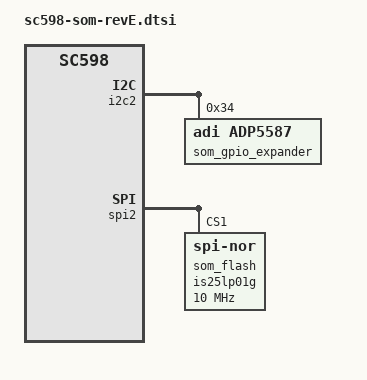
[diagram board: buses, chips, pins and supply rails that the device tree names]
// SPDX-License-Identifier: GPL-2.0-or-later
/*
 * (C) Copyright 2025 - Analog Devices, Inc.
 */

/dts-v1/;

#include "sc598-som.dtsi"

&i2c2 {
	som_gpio_expander: adp5587@34 {
		compatible = "adi,adp5587";
		reg = <0x34>;
		gpio-controller;
		#gpio-cells = <2>;
		bootph-pre-ram;

		uart0 {
			gpio-hog;
			gpios = <0 GPIO_ACTIVE_LOW>;
			output-high;
			line-name = "uart0-en";
			bootph-pre-ram;
		};

		uart0-flow {
			gpio-hog;
			gpios = <1 GPIO_ACTIVE_LOW>;
			output-low;
			line-name = "uart0-flow-en";
			bootph-pre-ram;
		};

		som-flash-d2d3 {
			gpio-hog;
			gpios = <2 GPIO_ACTIVE_LOW>;
			output-high;
			line-name = "som-flash-d2d3-en";
		};

		som-flash-cs {
			gpio-hog;
			gpios = <3 GPIO_ACTIVE_LOW>;
			output-high;
			line-name = "som-flash-cs-en";
		};

		som-emmc {
			gpio-hog;
			gpios = <8 GPIO_ACTIVE_LOW>;
			output-high;
			line-name = "som-emmc-en";
		};

		crr-sdcard {
			gpio-hog;
			gpios = <9 GPIO_ACTIVE_LOW>;
			output-low;
			line-name = "crr-sdcard-en";
		};

		led-ds3 {
			gpio-hog;
			gpios = <15 GPIO_ACTIVE_LOW>;
			output-high;
			line-name = "led-ds3";
			bootph-pre-ram;
		};

		led-ds2 {
			gpio-hog;
			gpios = <16 GPIO_ACTIVE_LOW>;
			output-high;
			line-name = "led-ds2";
		};

		led-ds1 {
			gpio-hog;
			gpios = <17 GPIO_ACTIVE_LOW>;
			output-high;
			line-name = "led-ds1";
		};
	};
};

&spi2 {
	som_flash: is25lp01g@1 {
		#address-cells = <1>;
		#size-cells = <1>;
		compatible = "jedec,spi-nor", "is25lp01g";
		reg = <1>;
		spi-tx-bus-width = <4>;
		spi-rx-bus-width = <4>;
		spi-max-frequency = <10000000>;
		bootph-pre-ram;
	};
};
